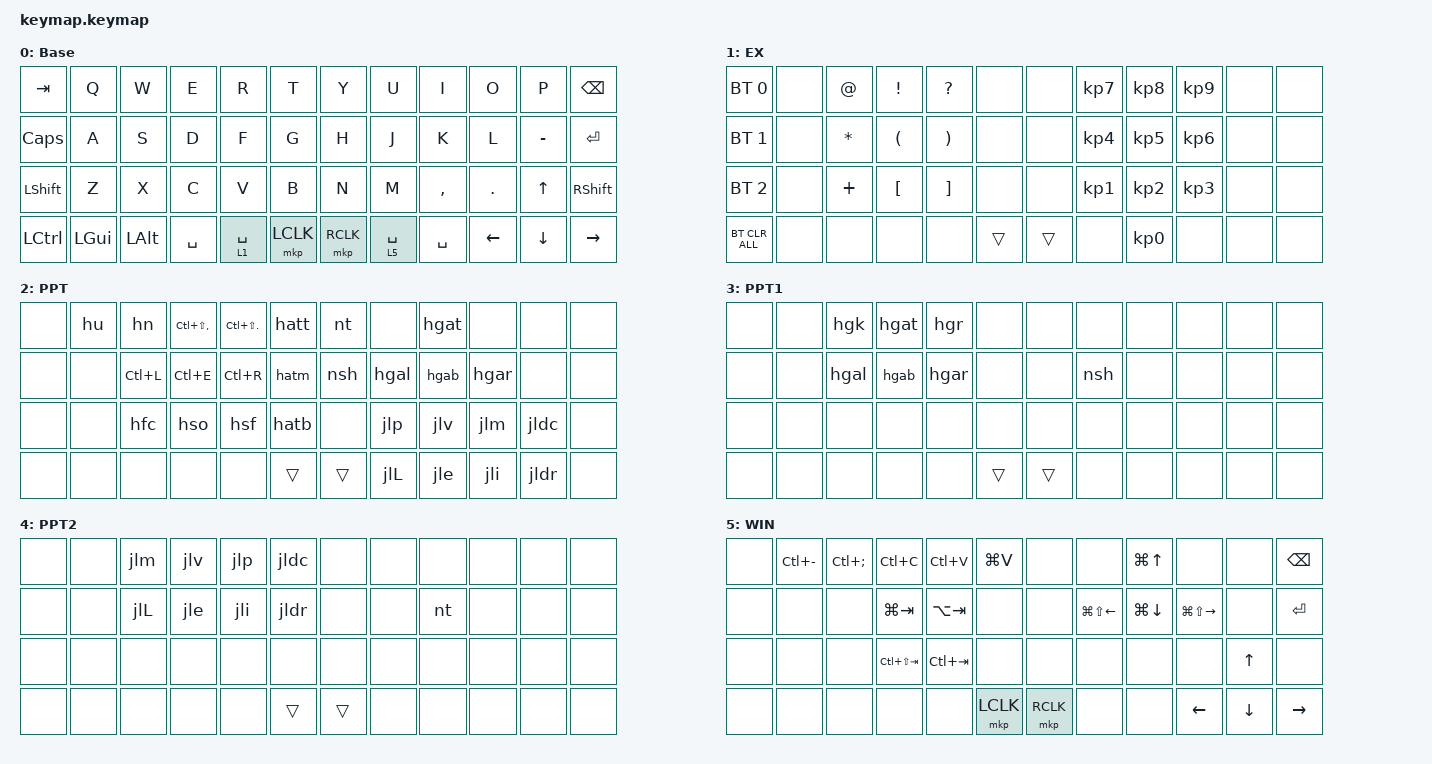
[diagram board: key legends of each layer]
#include <dt-bindings/zmk/mouse.h>
#include <behaviors.dtsi>
#include <dt-bindings/zmk/bt.h>
#include <dt-bindings/zmk/keys.h>
#include <dt-bindings/zmk/pointing.h>

/ {
    macros {
        hgat: hgat {
            compatible = "zmk,behavior-macro";
            #binding-cells = <0>;
            bindings = <&kp LA(H) &kp G &kp A &kp T>;
            label = "HGAT";
        };

        nsh: nsh {
            compatible = "zmk,behavior-macro";
            #binding-cells = <0>;
            bindings = <&kp LA(N) &kp S &kp H>;
            label = "NSH";
        };

        hatt: hatt {
            compatible = "zmk,behavior-macro";
            #binding-cells = <0>;
            bindings = <&kp LA(H) &kp A &kp T &kp T>;
            label = "HATT";
        };

        hatm: hatm {
            compatible = "zmk,behavior-macro";
            #binding-cells = <0>;
            bindings = <&kp LA(H) &kp A &kp T &kp M>;
            label = "HATM";
        };

        hatb: hatb {
            compatible = "zmk,behavior-macro";
            #binding-cells = <0>;
            bindings = <&kp LA(H) &kp A &kp T &kp B>;
            label = "HATB";
        };

        hsf: hsf {
            compatible = "zmk,behavior-macro";
            #binding-cells = <0>;
            bindings = <&kp LA(H) &kp S &kp F>;
            label = "HSF";
        };

        hfc: hfc {
            compatible = "zmk,behavior-macro";
            #binding-cells = <0>;
            bindings = <&kp LA(H) &kp F &kp C>;
            label = "HFC";
        };

        hso: hso {
            compatible = "zmk,behavior-macro";
            #binding-cells = <0>;
            bindings = <&kp LA(H) &kp S &kp O>;
            label = "HSO";
        };

        hu: hu {
            compatible = "zmk,behavior-macro";
            #binding-cells = <0>;
            bindings = <&kp LA(H) &kp U>;
            label = "HU";
        };

        hn: hn {
            compatible = "zmk,behavior-macro";
            #binding-cells = <0>;
            bindings = <&kp LA(H) &kp N>;
            label = "HN";
        };

        hgab: hgab {
            compatible = "zmk,behavior-macro";
            #binding-cells = <0>;
            bindings = <&kp LA(H) &kp G &kp A &kp B>;
            label = "HGAB";
        };

        hgal: hgal {
            compatible = "zmk,behavior-macro";
            #binding-cells = <0>;
            bindings = <&kp LA(H) &kp G &kp A &kp L>;
            label = "HGAL";
        };

        hgar: hgar {
            compatible = "zmk,behavior-macro";
            #binding-cells = <0>;
            bindings = <&kp LA(H) &kp G &kp A &kp R>;
            label = "HGAR";
        };

        hgr: hgr {
            compatible = "zmk,behavior-macro";
            #binding-cells = <0>;
            bindings = <&kp LA(H) &kp G &kp R>;
            label = "HGR";
        };

        hgk: hgk {
            compatible = "zmk,behavior-macro";
            #binding-cells = <0>;
            bindings = <&kp LA(H) &kp G &kp K>;
            label = "HGK";
        };

        nt: nt {
            compatible = "zmk,behavior-macro";
            #binding-cells = <0>;
            bindings = <&kp LA(N) &kp T>;
            label = "NT";
        };

        jlv: jlv {
            compatible = "zmk,behavior-macro";
            #binding-cells = <0>;
            bindings =
                <&kp LEFT_ALT>,
                <&macro_wait_time 1000>,
                <&kp J &kp L &kp V>;

            label = "JLV";
        };

        jle: jle {
            compatible = "zmk,behavior-macro";
            #binding-cells = <0>;
            bindings =
                <&kp LEFT_ALT>,
                <&macro_wait_time 1000>,
                <&kp J &kp L &kp E>;

            label = "JLE";
        };

        jli: jli {
            compatible = "zmk,behavior-macro";
            #binding-cells = <0>;
            bindings =
                <&kp LEFT_ALT>,
                <&macro_wait_time 1000>,
                <&kp J &kp L &kp I>;

            label = "JLI";
        };

        jlL: jlL {
            compatible = "zmk,behavior-macro";
            #binding-cells = <0>;
            bindings =
                <&kp LEFT_ALT>,
                <&macro_wait_time 1000>,
                <&kp J &kp L &kp L>;

            label = "JLL";
        };

        jlm: jlm {
            compatible = "zmk,behavior-macro";
            #binding-cells = <0>;
            bindings =
                <&kp LEFT_ALT>,
                <&macro_wait_time 1000>,
                <&kp J &kp L &kp M>;

            label = "JLM";
        };

        jlp: jlp {
            compatible = "zmk,behavior-macro";
            #binding-cells = <0>;
            bindings =
                <&kp LEFT_ALT>,
                <&macro_wait_time 1000>,
                <&kp J &kp L &kp P>;

            label = "JLP";
        };

        jldc: jldc {
            compatible = "zmk,behavior-macro";
            #binding-cells = <0>;
            bindings =
                <&kp LEFT_ALT>,
                <&macro_wait_time 1000>,
                <&kp J &kp L &kp D &kp C>;

            label = "JLDC";
        };

        jldr: jldr {
            compatible = "zmk,behavior-macro";
            #binding-cells = <0>;
            bindings =
                <&kp LEFT_ALT>,
                <&macro_wait_time 1000>,
                <&kp J &kp L &kp D &kp R>;

            label = "JLDR";
        };
    };

    keymap {
        compatible = "zmk,keymap";

        /* Layer 0: キーボード操作用レイヤー（文字入力） */

        Base {
            bindings = <
&kp TAB    &kp Q     &kp W     &kp E      &kp R        &kp T      &kp Y      &kp U        &kp I      &kp O     &kp P         &kp BSPC
&kp CAPS   &kp A     &kp S     &kp D      &kp F        &kp G      &kp H      &kp J        &kp K      &kp L     &kp MINUS     &kp ENTER
&kp LSHFT  &kp Z     &kp X     &kp C      &kp V        &kp B      &kp N      &kp M        &kp COMMA  &kp DOT   &kp UP_ARROW  &kp RSHFT
&kp LCTRL  &kp LGUI  &kp LALT  &kp SPACE  &lt 1 SPACE  &mkp LCLK  &mkp RCLK  &lt 5 SPACE  &kp SPACE  &kp LEFT  &kp DOWN      &kp RIGHT
            >;
        };

        EX {
            bindings = <
&bt BT_SEL 0    &none  &kp AT_SIGN   &kp EXCLAMATION       &kp QUESTION           &none   &none   &kp KP_NUMBER_7  &kp KP_NUMBER_8  &kp KP_NUMBER_9  &none  &none
&bt BT_SEL 1    &none  &kp ASTERISK  &kp LEFT_PARENTHESIS  &kp RIGHT_PARENTHESIS  &none   &none   &kp KP_NUMBER_4  &kp KP_NUMBER_5  &kp KP_NUMBER_6  &none  &none
&bt BT_SEL 2    &none  &kp PLUS      &kp LEFT_BRACKET      &kp RIGHT_BRACKET      &none   &none   &kp KP_NUMBER_1  &kp KP_NUMBER_2  &kp KP_NUMBER_3  &none  &none
&bt BT_CLR_ALL  &none  &none         &none                 &none                  &trans  &trans  &none            &kp KP_NUMBER_0  &none            &none  &none
            >;
        };

        PPT {
            bindings = <
&none  &hu    &hn        &kp LC(LS(COMMA))  &kp LC(LS(PERIOD))  &hatt   &nt     &none  &hgat  &none  &none  &none
&none  &none  &kp LC(L)  &kp LC(E)          &kp LC(R)           &hatm   &nsh    &hgal  &hgab  &hgar  &none  &none
&none  &none  &hfc       &hso               &hsf                &hatb   &none   &jlp   &jlv   &jlm   &jldc  &none
&none  &none  &none      &none              &none               &trans  &trans  &jlL   &jle   &jli   &jldr  &none
            >;
        };

        PPT1 {
            bindings = <
&none  &none  &hgk   &hgat  &hgr   &none   &none   &none  &none  &none  &none  &none
&none  &none  &hgal  &hgab  &hgar  &none   &none   &nsh   &none  &none  &none  &none
&none  &none  &none  &none  &none  &none   &none   &none  &none  &none  &none  &none
&none  &none  &none  &none  &none  &trans  &trans  &none  &none  &none  &none  &none
            >;
        };

        PPT2 {
            bindings = <
&none  &none  &jlm   &jlv   &jlp   &jldc   &none   &none  &none  &none  &none  &none
&none  &none  &jlL   &jle   &jli   &jldr   &none   &none  &nt    &none  &none  &none
&none  &none  &none  &none  &none  &none   &none   &none  &none  &none  &none  &none
&none  &none  &none  &none  &none  &trans  &trans  &none  &none  &none  &none  &none
            >;
        };

        WIN {
            bindings = <
&none  &kp LC(MINUS)  &kp LC(SEMICOLON)  &kp LC(C)        &kp LC(V)    &kp LG(V)  &none      &none             &kp LG(UP)    &none              &none         &kp BACKSPACE
&none  &none          &none              &kp LG(TAB)      &kp LA(TAB)  &none      &none      &kp LG(LS(LEFT))  &kp LG(DOWN)  &kp LG(LS(RIGHT))  &none         &kp ENTER
&none  &none          &none              &kp LC(LS(TAB))  &kp LC(TAB)  &none      &none      &none             &none         &none              &kp UP_ARROW  &none
&none  &none          &none              &none            &none        &mkp LCLK  &mkp RCLK  &none             &none         &kp LEFT           &kp DOWN      &kp RIGHT
            >;
        };
    };
};
